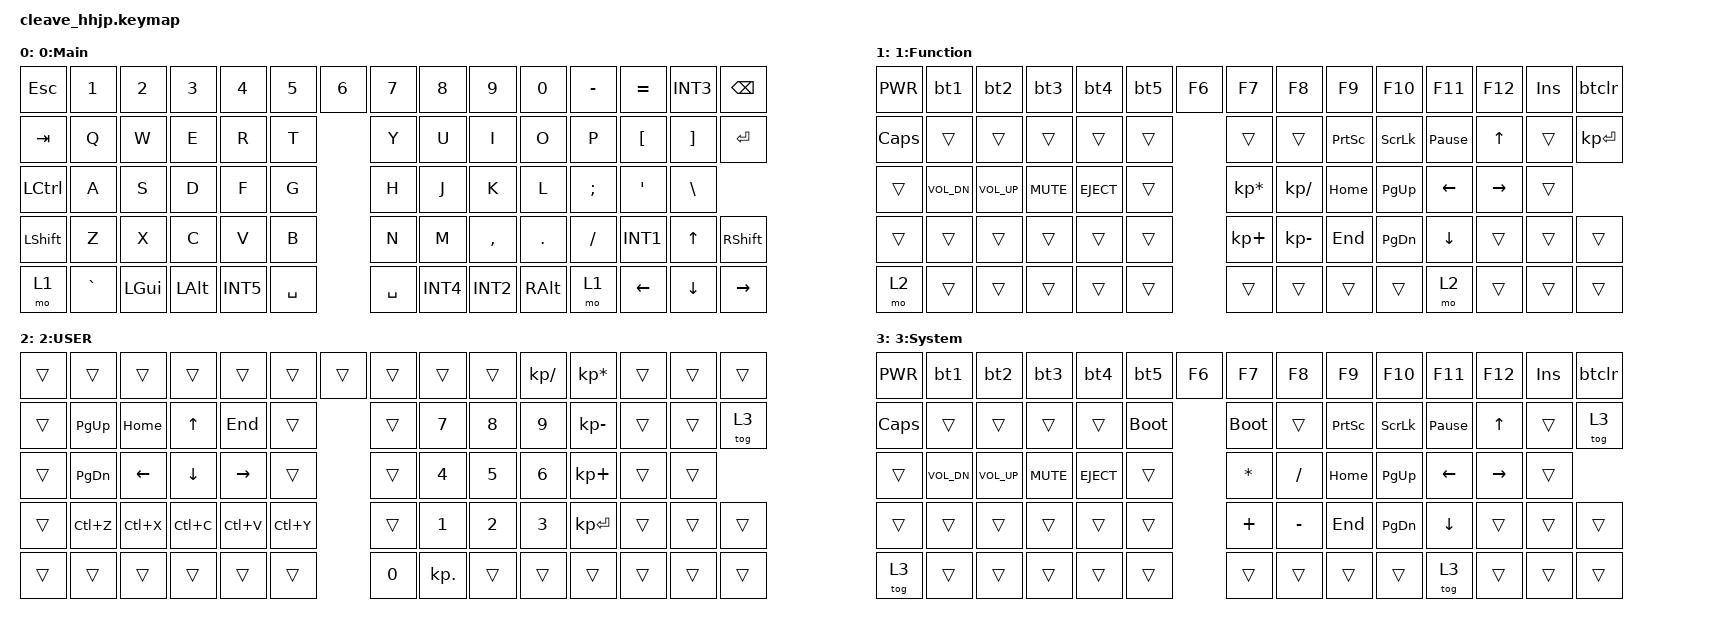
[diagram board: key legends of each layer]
/*
 * Copyright (c) 2025
 * SPDX-License-Identifier: MIT
 */

#include <behaviors.dtsi>
#include <dt-bindings/zmk/keys.h>
#include <dt-bindings/zmk/bt.h>

/ {
	behaviors {
		bt1: bluetooth_morph_1 {
			compatible = "zmk,behavior-mod-morph";
			label = "BT_MORPH_1";
			#binding-cells = <0>;
			bindings = <&kp F1>, <&bt BT_SEL 0>;
			mods = <(MOD_LCTL|MOD_RCTL)>;
		};
		bt2: bluetooth_morph_2 {
			compatible = "zmk,behavior-mod-morph";
			label = "BT_MORPH_2";
			#binding-cells = <0>;
			bindings = <&kp F2>, <&bt BT_SEL 1>;
			mods = <(MOD_LCTL|MOD_RCTL)>;
		};
		bt3: bluetooth_morph_3 {
			compatible = "zmk,behavior-mod-morph";
			label = "BT_MORPH_3";
			#binding-cells = <0>;
			bindings = <&kp F3>, <&bt BT_SEL 2>;
			mods = <(MOD_LCTL|MOD_RCTL)>;
		};
		bt4: bluetooth_morph_4 {
			compatible = "zmk,behavior-mod-morph";
			label = "BT_MORPH_4";
			#binding-cells = <0>;
			bindings = <&kp F4>, <&bt BT_SEL 3>;
			mods = <(MOD_LCTL|MOD_RCTL)>;
		};
		bt5: bluetooth_morph_5 {
			compatible = "zmk,behavior-mod-morph";
			label = "BT_MORPH_5";
			#binding-cells = <0>;
			bindings = <&kp F5>, <&bt BT_SEL 4>;
			mods = <(MOD_LCTL|MOD_RCTL)>;
		};
		btclr: bluetooth_clear_morph {
			compatible = "zmk,behavior-mod-morph";
			label = "BT_CLR_MORPH";
			#binding-cells = <0>;
			bindings = <&kp DEL>, <&bt BT_CLR>;
			mods = <(MOD_LCTL|MOD_RCTL)>;
		};
	};

	keymap {
		compatible = "zmk,keymap";

		default_layer {
			display-name = "0:Main";
			bindings = <
    &kp ESC         &kp N1          &kp N2          &kp N3          &kp N4          &kp N5          &kp N6              &kp N7          &kp N8          &kp N9          &kp N0          &kp MINUS       &kp EQUAL       &kp INT3        &kp BSPC
    &kp TAB         &kp Q           &kp W           &kp E           &kp R           &kp T                               &kp Y           &kp U           &kp I           &kp O           &kp P           &kp LBKT        &kp RBKT        &kp RET
    &kp LCTRL       &kp A           &kp S           &kp D           &kp F           &kp G                               &kp H           &kp J           &kp K           &kp L           &kp SEMI        &kp SQT         &kp BSLH
    &kp LSHFT       &kp Z           &kp X           &kp C           &kp V           &kp B                               &kp N           &kp M           &kp COMMA       &kp DOT         &kp FSLH        &kp INT1        &kp UP          &kp RSHFT
    &mo 1           &kp GRAVE       &kp LGUI        &kp LALT        &kp INT5        &kp SPACE                           &kp SPACE       &kp INT4        &kp INT2        &kp RALT        &mo 1           &kp LEFT        &kp DOWN        &kp RIGHT
			>;
		};

		fn_layer {
			display-name = "1:Function";
			bindings = <
    &kp C_PWR       &bt1            &bt2            &bt3            &bt4            &bt5            &kp F6              &kp F7          &kp F8          &kp F9          &kp F10         &kp F11         &kp F12         &kp INS         &btclr
    &kp CAPS        &trans          &trans          &trans          &trans          &trans                              &trans          &trans          &kp PSCRN       &kp SLCK        &kp PAUSE_BREAK &kp UP          &trans          &kp KP_ENTER
    &trans          &kp C_VOL_DN    &kp C_VOL_UP    &kp C_MUTE      &kp C_EJECT     &trans                              &kp KP_MULTIPLY &kp KP_SLASH    &kp HOME        &kp PG_UP       &kp LEFT        &kp RIGHT       &trans
    &trans          &trans          &trans          &trans          &trans          &trans                              &kp KP_PLUS     &kp KP_MINUS    &kp END         &kp PG_DN       &kp DOWN        &trans          &trans          &trans
    &mo 2           &trans          &trans          &trans          &trans          &trans                              &trans          &trans          &trans          &trans          &mo 2           &trans          &trans          &trans
			>;
		};

		usr_layer {
			display-name = "2:USER";
			bindings = <
    &trans          &trans          &trans          &trans          &trans          &trans          &trans              &trans          &trans          &trans          &kp KP_SLASH    &kp KP_MULTIPLY &trans          &trans          &trans
    &trans          &kp PG_UP       &kp HOME        &kp UP          &kp END         &trans                              &trans          &kp N7          &kp N8          &kp N9          &kp KP_MINUS    &trans          &trans          &tog 3
    &trans          &kp PG_DN       &kp LEFT        &kp DOWN        &kp RIGHT       &trans                              &trans          &kp N4          &kp N5          &kp N6          &kp KP_PLUS     &trans          &trans
    &trans          &kp LC(Z)       &kp LC(X)       &kp LC(C)       &kp LC(V)       &kp LC(Y)                           &trans          &kp N1          &kp N2          &kp N3          &kp KP_ENTER    &trans          &trans          &trans
    &trans          &trans          &trans          &trans          &trans          &trans                              &kp N0          &kp KP_DOT      &trans          &trans          &trans          &trans          &trans          &trans
			>;
		};

		system_layer {
			display-name = "3:System";
			bindings = <
    &kp C_PWR       &bt1            &bt2            &bt3            &bt4            &bt5            &kp F6              &kp F7          &kp F8          &kp F9          &kp F10         &kp F11         &kp F12         &kp INS         &btclr
    &kp CAPS        &trans          &trans          &trans          &trans          &bootloader                         &bootloader     &trans          &kp PSCRN       &kp SLCK        &kp PAUSE_BREAK &kp UP          &trans          &tog 3
    &trans          &kp C_VOL_DN    &kp C_VOL_UP    &kp C_MUTE      &kp C_EJECT     &trans                              &kp STAR        &kp FSLH        &kp HOME        &kp PG_UP       &kp LEFT        &kp RIGHT       &trans
    &trans          &trans          &trans          &trans          &trans          &trans                              &kp PLUS        &kp MINUS       &kp END         &kp PG_DN       &kp DOWN        &trans          &trans          &trans
    &tog 3          &trans          &trans          &trans          &trans          &trans                              &trans          &trans          &trans          &trans          &tog 3          &trans          &trans          &trans
			>;
		};
	};
};
